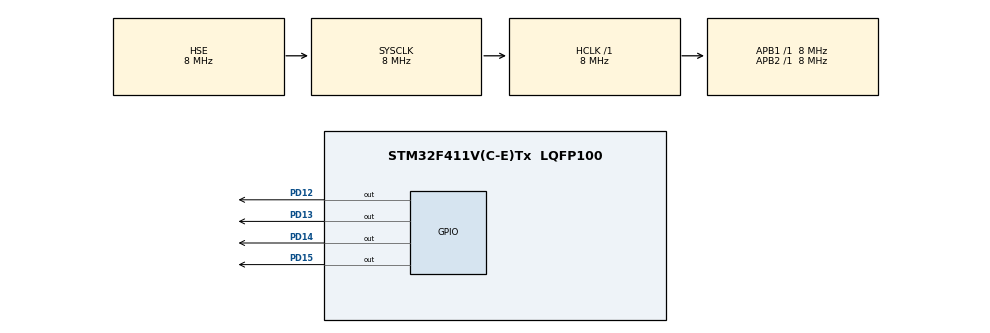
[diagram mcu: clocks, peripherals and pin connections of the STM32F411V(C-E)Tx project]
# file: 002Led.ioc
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Mcu.Family=STM32F4
Mcu.Name=STM32F411V(C-E)Tx
Mcu.Package=LQFP100
NVIC.PriorityGroup=NVIC_PRIORITYGROUP_4
NVIC.TIM1_UP_TIM10_IRQn=true\:15\:0\:false\:false\:true\:false\:true\:true
NVIC.TimeBase=TIM1_UP_TIM10_IRQn
NVIC.TimeBaseIP=TIM1
PA13.Mode=Serial_Wire
PA13.Signal=SYS_JTMS-SWDIO
PA14.Mode=Serial_Wire
PA14.Signal=SYS_JTCK-SWCLK
PD12.Signal=GPIO_Output
PD13.Signal=GPIO_Output
PD14.Signal=GPIO_Output
PD15.Signal=GPIO_Output
PH0\ -\ OSC_IN.Mode=HSE-External-Oscillator
PH0\ -\ OSC_IN.Signal=RCC_OSC_IN
PH1\ -\ OSC_OUT.Mode=HSE-External-Oscillator
PH1\ -\ OSC_OUT.Signal=RCC_OSC_OUT
ProjectManager.HeapSize=0x200
ProjectManager.StackSize=0x400
ProjectManager.TargetToolchain=STM32CubeIDE
RCC.AHBFreq_Value=8000000
RCC.APB1Freq_Value=8000000
RCC.APB1TimFreq_Value=8000000
RCC.APB2Freq_Value=8000000
RCC.APB2TimFreq_Value=8000000
RCC.CortexFreq_Value=8000000
RCC.HCLKFreq_Value=8000000
RCC.HSE_VALUE=8000000
RCC.HSI_VALUE=16000000
RCC.LSE_VALUE=32768
RCC.SYSCLKFreq_VALUE=8000000
RCC.SYSCLKSource=RCC_SYSCLKSOURCE_HSE
RCC.VCOOutputFreq_Value=192000000
VP_SYS_VS_tim1.Mode=TIM1
board=custom

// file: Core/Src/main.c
/* USER CODE BEGIN Header */
/**
  ******************************************************************************
  * @file           : main.c
  * @brief          : Main program body
  ******************************************************************************
  * @attention
  *
  * Copyright (c) 2024 STMicroelectronics.
  * All rights reserved.
  *
  * This software is licensed under terms that can be found in the LICENSE file
  * in the root directory of this software component.
  * If no LICENSE file comes with this software, it is provided AS-IS.
  *
  ******************************************************************************
  */
/* USER CODE END Header */
#include "main.h"

/* USER CODE BEGIN Includes */
#include"FreeRTOS.h"
#include"task.h"
#include"stdio.h"
/* USER CODE END Includes */

void SystemClock_Config(void);
static void MX_GPIO_Init(void);
/* USER CODE BEGIN PFP */
static void task1_handler(void* parameters);
static void task2_handler(void* parameters);
static void task3_handler(void* parameters);
static void task4_handler(void* parameters);
/* USER CODE END PFP */

/* USER CODE BEGIN 0 */
TaskHandle_t task1_handle;
TaskHandle_t task2_handle;
TaskHandle_t task3_handle;
TaskHandle_t task4_handle;
/* USER CODE END 0 */

int main(void)
{
  /* USER CODE BEGIN 1 */

	BaseType_t status;
  /* USER CODE END 1 */

  /* MCU Configuration--------------------------------------------------------*/

  /* Reset of all peripherals, Initializes the Flash interface and the Systick. */
  HAL_Init();

  /* Configure the system clock */
  SystemClock_Config();

  /* Initialize all configured peripherals */
  MX_GPIO_Init();
  /* USER CODE BEGIN 2 */
  status = xTaskCreate(task1_handler, "Task-12", 200, "Hello world from Task-1", 1, &task1_handle);

  configASSERT(status == pdPASS);

  status = xTaskCreate(task2_handler, "Task-13", 200, "Hello world from Task-2", 2, &task2_handle);

  configASSERT(status == pdPASS);

  status = xTaskCreate(task3_handler, "Task-14", 200, "Hello world from Task-3", 3, &task3_handle);

  configASSERT(status == pdPASS);

  status = xTaskCreate(task4_handler, "Task-15", 200, "Hello world from Task-4", 4, &task4_handle);

  configASSERT(status == pdPASS);

  //start the freeRTOS scheduler
  vTaskStartScheduler();
  /* USER CODE END 2 */

  /* Infinite loop */
  while (1)
  {

  }
}

void SystemClock_Config(void)
{
  RCC_OscInitTypeDef RCC_OscInitStruct = {0};
  RCC_ClkInitTypeDef RCC_ClkInitStruct = {0};

  /** Configure the main internal regulator output voltage
  */
  __HAL_RCC_PWR_CLK_ENABLE();
  __HAL_PWR_VOLTAGESCALING_CONFIG(PWR_REGULATOR_VOLTAGE_SCALE1);

  /** Initializes the RCC Oscillators according to the specified parameters
  * in the RCC_OscInitTypeDef structure.
  */
  RCC_OscInitStruct.OscillatorType = RCC_OSCILLATORTYPE_HSE;
  RCC_OscInitStruct.HSEState = RCC_HSE_ON;
  RCC_OscInitStruct.PLL.PLLState = RCC_PLL_NONE;
  if (HAL_RCC_OscConfig(&RCC_OscInitStruct) != HAL_OK)
  {
    Error_Handler();
  }

  /** Initializes the CPU, AHB and APB buses clocks
  */
  RCC_ClkInitStruct.ClockType = RCC_CLOCKTYPE_HCLK|RCC_CLOCKTYPE_SYSCLK
                              |RCC_CLOCKTYPE_PCLK1|RCC_CLOCKTYPE_PCLK2;
  RCC_ClkInitStruct.SYSCLKSource = RCC_SYSCLKSOURCE_HSE;
  RCC_ClkInitStruct.AHBCLKDivider = RCC_SYSCLK_DIV1;
  RCC_ClkInitStruct.APB1CLKDivider = RCC_HCLK_DIV1;
  RCC_ClkInitStruct.APB2CLKDivider = RCC_HCLK_DIV1;

  if (HAL_RCC_ClockConfig(&RCC_ClkInitStruct, FLASH_LATENCY_0) != HAL_OK)
  {
    Error_Handler();
  }
}

static void MX_GPIO_Init(void)
{
  GPIO_InitTypeDef GPIO_InitStruct = {0};

  /* GPIO Ports Clock Enable */
  __HAL_RCC_GPIOH_CLK_ENABLE();
  __HAL_RCC_GPIOD_CLK_ENABLE();
  __HAL_RCC_GPIOA_CLK_ENABLE();

  /*Configure GPIO pin Output Level */
  HAL_GPIO_WritePin(GPIOD, GPIO_PIN_12|GPIO_PIN_13|GPIO_PIN_14|GPIO_PIN_15, GPIO_PIN_RESET);

  /*Configure GPIO pins : PD12 PD13 PD14 PD15 */
  GPIO_InitStruct.Pin = GPIO_PIN_12|GPIO_PIN_13|GPIO_PIN_14|GPIO_PIN_15;
  GPIO_InitStruct.Mode = GPIO_MODE_OUTPUT_PP;
  GPIO_InitStruct.Pull = GPIO_NOPULL;
  GPIO_InitStruct.Speed = GPIO_SPEED_FREQ_LOW;
  HAL_GPIO_Init(GPIOD, &GPIO_InitStruct);

}

/* USER CODE BEGIN 4 */
static void task1_handler(void* parameters)
{

	while(1)
	{

HAL_GPIO_TogglePin(GPIOD, GPIO_PIN_12);
vTaskDelay(200);
	}
}
static void task2_handler(void* parameters)
{
	while(1)
	{
		HAL_GPIO_TogglePin(GPIOD, GPIO_PIN_13);
		vTaskDelay(400);
	}
}
static void task3_handler(void* parameters)
{
	while(1)
	{
		HAL_GPIO_TogglePin(GPIOD, GPIO_PIN_14);
		vTaskDelay(2000);
		xTaskNotify(task4_handle,4,eSetValueWithOverwrite);
	}
}
static void task4_handler(void* parameters)
{
	uint32_t ret;
	BaseType_t a = 2;
	while(1)
	{

		if(a==2)
		{
			a= xTaskNotifyWait(0,0,&ret,10000);
		}

		if(ret == 4)
		{
			HAL_GPIO_TogglePin(GPIOD, GPIO_PIN_15);
			vTaskDelay(200);
		}

	}
}

/* USER CODE END 4 */

void HAL_TIM_PeriodElapsedCallback(TIM_HandleTypeDef *htim)
{
  if (htim->Instance == TIM1) {
    HAL_IncTick();
  }
}

void Error_Handler(void)
{
  __disable_irq();
  while (1)
  {
  }
}
